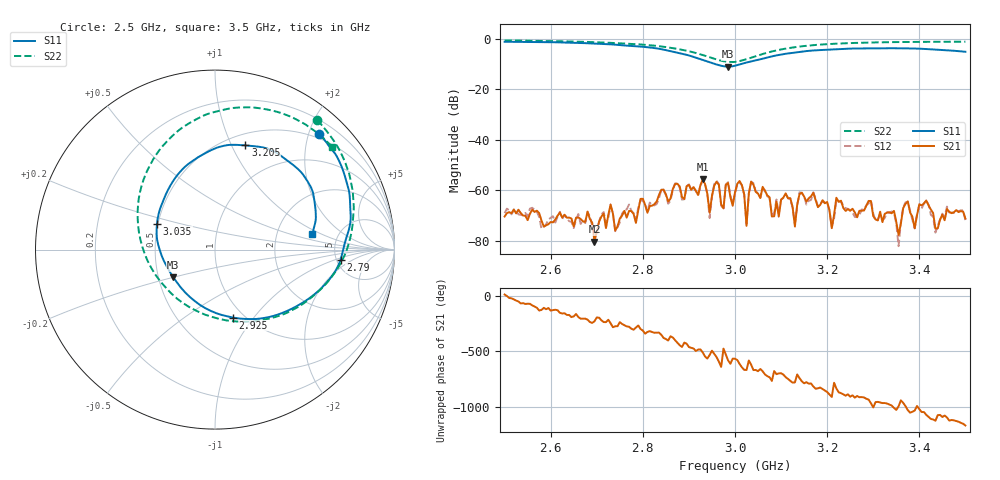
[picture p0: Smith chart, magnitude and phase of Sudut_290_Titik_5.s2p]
# Hz S RI R 50
! CMT, C1220, 16058040, 17.2.0/1
! Date: 15/08/2018 10:27:24
! Data: Format (Calibration Info)
! Freq  S11: Re/Im (F2)  S21: Re/Im (F2)  S12: Re/Im (F2)  S22: Re/Im (F2)
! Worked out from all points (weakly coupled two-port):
!   201 points, 2.5 GHz to 3.5 GHz, reference 50 ohm
!   highest |S21| = -55.65 dB at 2.93 GHz (marker M1); lowest = -80.2 dB at 2.695 GHz (marker M2)
!   lowest |S11| = -11.1 dB at 2.985 GHz (marker M3), VSWR 1.77, Z = 29.9 - j10 ohm
!   |S11| at or under -10 dB: 2.956 GHz to 3.014 GHz (58.27 MHz wide, 1.95 % of centre)
!   |S22| runs from -9.2 to -0.7 dB; largest |S21 - S12| = 0.00016
!   S11 on the Smith chart (normalised r, x): 2.5 GHz: 0.42, +2.18; 2.79 GHz: 5.43, -1.19; 2.925 GHz: 0.89, -0.79; 3.035 GHz: 0.49, +0.16; 3.205 GHz: 0.62, +1.13; 3.5 GHz: 3.22, +0.80
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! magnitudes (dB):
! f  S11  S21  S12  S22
! 2.5 GHz  -1.2  -70.3  -68.9  -0.7
! 2.67 GHz  -1.8  -72.2  -71.7  -1.3
! 2.695 GHz  -2.0  -80.2  -76.4  -1.4
! 2.73 GHz  -2.3  -65.5  -66.2  -1.7
! 2.74 GHz  -2.4  -75.9  -76.1  -1.8
! 2.79 GHz  -3.1  -67.8  -66.8  -2.3
! 2.835 GHz  -4.0  -61.8  -63.1  -3.0
! 2.925 GHz  -8.1  -57.9  -58.3  -6.2
! 2.93 GHz  -8.5  -55.6  -56.0  -6.5
! 2.945 GHz  -9.3  -68.8  -70.9  -7.4
! 2.985 GHz  -11.1  -57.0  -56.7  -9.2
! 3 GHz  -10.7  -60.7  -61.1  -9.2
! 3.015 GHz  -10.0  -57.9  -58.0  -8.7
! 3.025 GHz  -9.4  -74.0  -73.3  -8.1
! 3.035 GHz  -9.0  -56.5  -56.5  -7.6
! 3.13 GHz  -5.5  -74.3  -73.1  -3.4
! 3.17 GHz  -4.7  -61.0  -60.7  -2.6
! 3.205 GHz  -4.4  -67.9  -67.7  -2.2
! 3.335 GHz  -3.8  -68.6  -68.9  -1.4
! 3.355 GHz  -3.8  -77.6  -82.0  -1.4
! 3.37 GHz  -3.9  -65.3  -64.7  -1.3
! 3.5 GHz  -5.2  -71.1  -71.7  -1.2
